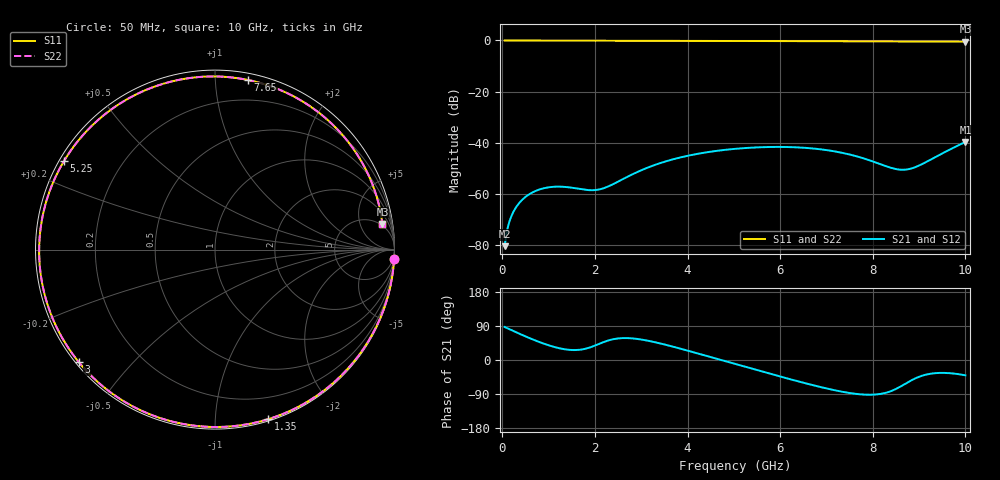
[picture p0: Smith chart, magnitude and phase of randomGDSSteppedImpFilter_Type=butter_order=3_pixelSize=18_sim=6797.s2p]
! freq	dB(S11)	phase(S11)	dB(S12)	phase(S12)
!  dB(S21)	phase(S21)	dB(S22)	phase(S22)
!S-par simulation data
#  GHz  S  DB  R 50
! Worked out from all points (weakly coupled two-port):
!   200 points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, 50 MHz to 10 GHz, reference 50 ohm
!   highest |S21| = -39.72 dB at 10 GHz (marker M1); lowest = -80.5 dB at 50 MHz (marker M2)
!   lowest |S11| = -0.5 dB at 10 GHz (marker M3), VSWR 34.71, Z = 217 + j572 ohm
!   |S11| at or under -10 dB: nowhere
!   |S22| runs from -0.5 to 0.0 dB; largest |S21 - S12| = 0
!   S11 on the Smith chart (normalised r, x): 50 MHz: 0, -40; 1.35 GHz: 0.01, -1.36; 3 GHz: 0.01, -0.36; 5.25 GHz: 0.01, +0.27; 7.65 GHz: 0.05, +1.21; 10 GHz: 4, +11
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0.05  -0.00 -2.9  -80.51 87.2  -80.51 87.2  -0.00 -2.9
0.1  -0.01 -5.7  -74.51 84.3  -74.51 84.3  -0.01 -5.7
0.2  -0.01 -11.5  -68.58 78.7  -68.58 78.7  -0.01 -11.4
0.3  -0.02 -17.1  -65.21 73.2  -65.21 73.2  -0.02 -17.1
0.45  -0.03 -25.5  -62.02 65.0  -62.02 65.0  -0.03 -25.5
0.85  -0.06 -47.3  -58.06 45.1  -58.06 45.1  -0.06 -47.3
1.35  -0.09 -72.7  -57.32 28.3  -57.32 28.3  -0.09 -72.6
1.75  -0.10 -91.3  -58.34 28.5  -58.34 28.5  -0.10 -91.3
2.2  -0.12 -110.5  -57.76 47.8  -57.76 47.8  -0.12 -110.5
3  -0.14 -140.6  -50.81 54.1  -50.81 54.1  -0.14 -140.5
3.4  -0.15 -154.1  -48.07 44.0  -48.07 44.0  -0.15 -154.1
4.2  -0.18 -179.4  -44.43 17.9  -44.43 17.9  -0.18 -179.4
5.05  -0.21 155.3  -42.38 -11.4  -42.38 -11.4  -0.21 155.3
5.25  -0.22 149.5  -42.10 -18.3  -42.10 -18.3  -0.22 149.5
6  -0.25 127.8  -41.67 -43.6  -41.67 -43.6  -0.25 127.8
6.7  -0.28 107.3  -42.27 -66.2  -42.27 -66.2  -0.28 107.3
7.65  -0.33 79.1  -45.34 -89.6  -45.34 -89.6  -0.33 79.1
8.35  -0.37 57.9  -49.60 -84.0  -49.60 -84.0  -0.37 57.9
8.6  -0.38 50.3  -50.59 -70.0  -50.59 -70.0  -0.38 50.3
8.85  -0.40 42.8  -50.02 -52.6  -50.02 -52.6  -0.40 42.8
9.45  -0.44 24.8  -44.70 -34.1  -44.70 -34.1  -0.44 24.8
10  -0.50 8.7  -39.72 -40.5  -39.72 -40.5  -0.50 8.7
